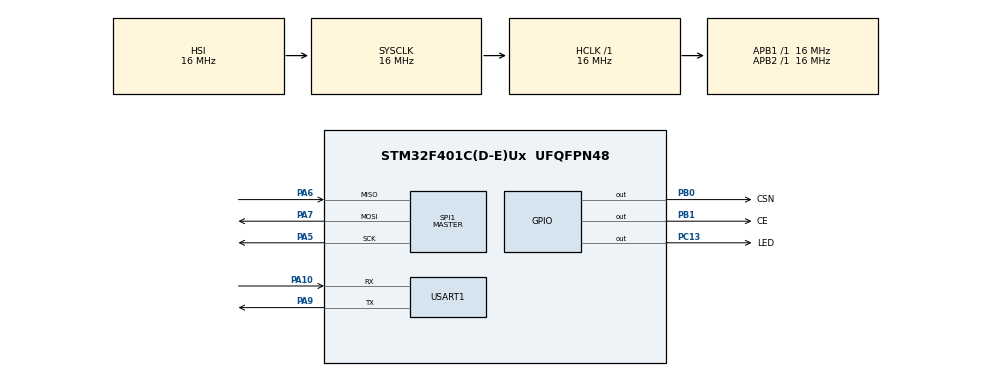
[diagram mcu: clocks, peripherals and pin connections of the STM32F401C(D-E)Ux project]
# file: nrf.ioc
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Mcu.Family=STM32F4
Mcu.Name=STM32F401C(D-E)Ux
Mcu.Package=UFQFPN48
NVIC.PriorityGroup=NVIC_PRIORITYGROUP_4
PA10.Mode=Asynchronous
PA10.Signal=USART1_RX
PA13.Mode=Serial_Wire
PA13.Signal=SYS_JTMS-SWDIO
PA14.Mode=Serial_Wire
PA14.Signal=SYS_JTCK-SWCLK
PA5.Mode=Full_Duplex_Master
PA5.Signal=SPI1_SCK
PA6.Mode=Full_Duplex_Master
PA6.Signal=SPI1_MISO
PA7.Mode=Full_Duplex_Master
PA7.Signal=SPI1_MOSI
PA9.Mode=Asynchronous
PA9.Signal=USART1_TX
PB0.GPIO_Label=CSN
PB0.Signal=GPIO_Output
PB1.GPIO_Label=CE
PB1.Signal=GPIO_Output
PC13-ANTI_TAMP.GPIO_Label=LED
PC13-ANTI_TAMP.Signal=GPIO_Output
PC14-OSC32_IN.Mode=LSE-External-Oscillator
PC14-OSC32_IN.Signal=RCC_OSC32_IN
PC15-OSC32_OUT.Mode=LSE-External-Oscillator
PC15-OSC32_OUT.Signal=RCC_OSC32_OUT
PH0\ -\ OSC_IN.Mode=HSE-External-Oscillator
PH0\ -\ OSC_IN.Signal=RCC_OSC_IN
PH1\ -\ OSC_OUT.Mode=HSE-External-Oscillator
PH1\ -\ OSC_OUT.Signal=RCC_OSC_OUT
ProjectManager.HeapSize=0x200
ProjectManager.StackSize=0x400
ProjectManager.TargetToolchain=STM32CubeIDE
RCC.AHBFreq_Value=16000000
RCC.APB1Freq_Value=16000000
RCC.APB2Freq_Value=16000000
RCC.CortexFreq_Value=16000000
RCC.HSE_VALUE=25000000
RCC.HSI_VALUE=16000000
RCC.SYSCLKFreq_VALUE=16000000
RCC.VCOOutputFreq_Value=192000000
SPI1.BaudRatePrescaler=SPI_BAUDRATEPRESCALER_32
SPI1.Direction=SPI_DIRECTION_2LINES
SPI1.Mode=SPI_MODE_MASTER
SPI1.VirtualType=VM_MASTER
USART1.VirtualMode=VM_ASYNC
board=custom

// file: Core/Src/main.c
/* USER CODE BEGIN Header */
/**
  ******************************************************************************
  * @file           : main.c
  * @brief          : Main program body
  ******************************************************************************
  * @attention
  *
  * Copyright (c) 2025 STMicroelectronics.
  * All rights reserved.
  *
  * This software is licensed under terms that can be found in the LICENSE file
  * in the root directory of this software component.
  * If no LICENSE file comes with this software, it is provided AS-IS.
  *
  ******************************************************************************
  */
/* USER CODE END Header */
#include "main.h"

/* USER CODE BEGIN Includes */
#include "nRF24L01.h"
#include <stdio.h>
#include <stdlib.h>
#include <string.h>
/* USER CODE END Includes */

SPI_HandleTypeDef hspi1;

UART_HandleTypeDef huart1;

void SystemClock_Config(void);
static void MX_GPIO_Init(void);
static void MX_SPI1_Init(void);
static void MX_USART1_UART_Init(void);
/* USER CODE BEGIN PFP */
int _write(int file, char *ptr, int len);
/* USER CODE END PFP */

int main(void)
{

  /* MCU Configuration--------------------------------------------------------*/

  /* Reset of all peripherals, Initializes the Flash interface and the Systick. */
  HAL_Init();

  /* Configure the system clock */
  SystemClock_Config();

  /* Initialize all configured peripherals */
  MX_GPIO_Init();
  MX_SPI1_Init();
  MX_USART1_UART_Init();
  /* USER CODE BEGIN 2 */

  nrf_t nrf ={
	.ce_port = CE_GPIO_Port,
	.ce_pin = CE_Pin,
	.csn_port = CSN_GPIO_Port,
	.csn_pin = CSN_Pin,
	.spi = &hspi1
  };

  uint8_t tx_addr[] = {0x11, 0x22, 0x33, 0x44, 0x55};
  nrf_init_tx(&nrf, tx_addr);
  //uint8_t data_to_send[]="hello world\n";
  //uint8_t counter = 0;

  // --- NEW DIAGNOSTIC TEST ---
    printf("--- NRF24L01 DIAGNOSTIC ---\r\n");
    uint8_t reg_val = nrf_read_reg(&nrf, NRF_REG_RF_CH);
    printf("Reading RF_CH (0x05): Should be 0x01.  Value: 0x%02X\r\n", reg_val);

    if (reg_val == 0x01) {
        printf("DIAGNOSTIC: SUCCESS! SPI wiring is correct.\r\n");
        printf("The 'timeout' error is almost certainly a POWER problem.\r\n");
        printf("Please add a 10uF capacitor to the module.\r\n");
    } else {
        printf("DIAGNOSTIC: FAILED! SPI communication is not working.\r\n");
        printf("Check VCC, GND, MISO, MOSI, SCK, and CSN wiring.\r\n");
        printf("Default value is 0x02. 0x00 or 0xFF means bad wiring.\r\n");
    }
    printf("--------------------------------\r\n");
    // --- END OF DIAGNOSTIC TEST ---

    uint8_t data_to_send[32];
    int counter = 0;

    //////////////////// RX CODE
    /*uint8_t rx_address[5] = {0x11, 0x22, 0x33, 0x44, 0x55};
      nrf_init_rx(&nrf, rx_address);

      uint8_t received_data[32] = {0};
        // Use a 4-byte payload (must match TX)

        // Call the init function

      printf("RX Init Success. Listening on 0x%02X%02X%02X%02X%02X\r\n",
    		  rx_address[0], rx_address[1], rx_address[2], rx_address[3], rx_address[4]);
*/
  /* USER CODE END 2 */

  /* Infinite loop */
  while (1)
  {

    /* USER CODE BEGIN 3 */
	  // Prepare some data

	      // Transmit the data

	  printf("Sending packet %d...\n ", counter);
	  snprintf((char*)data_to_send,32,"hello: %d\n",counter);
	  int result = nrf_transmit(&nrf, data_to_send,32);

	  if (result == 0) {
		  printf("OK!\r\n");
	      } else {
	          // Error message is printed inside the driver
	      }
	  nrf_send_cmd(&nrf, NRF_CMD_FLUSH_TX);
	  memset(data_to_send, 0, 32);
	  counter++;
	  HAL_Delay(10); // Wait 1 second

	  //////////////// rx code
/*
	  if (nrf_receive(&nrf, received_data))
	 	  {
	 	          // If we got one, print it!
	 		  HAL_UART_Transmit(&huart1, received_data, 32, 100);
	 	  }
	 	   HAL_Delay(10);
*/
  }
  /* USER CODE END 3 */
}

void SystemClock_Config(void)
{
  RCC_OscInitTypeDef RCC_OscInitStruct = {0};
  RCC_ClkInitTypeDef RCC_ClkInitStruct = {0};

  /** Configure the main internal regulator output voltage
  */
  __HAL_RCC_PWR_CLK_ENABLE();
  __HAL_PWR_VOLTAGESCALING_CONFIG(PWR_REGULATOR_VOLTAGE_SCALE2);

  /** Initializes the RCC Oscillators according to the specified parameters
  * in the RCC_OscInitTypeDef structure.
  */
  RCC_OscInitStruct.OscillatorType = RCC_OSCILLATORTYPE_HSI;
  RCC_OscInitStruct.HSIState = RCC_HSI_ON;
  RCC_OscInitStruct.HSICalibrationValue = RCC_HSICALIBRATION_DEFAULT;
  RCC_OscInitStruct.PLL.PLLState = RCC_PLL_NONE;
  if (HAL_RCC_OscConfig(&RCC_OscInitStruct) != HAL_OK)
  {
    Error_Handler();
  }

  /** Initializes the CPU, AHB and APB buses clocks
  */
  RCC_ClkInitStruct.ClockType = RCC_CLOCKTYPE_HCLK|RCC_CLOCKTYPE_SYSCLK
                              |RCC_CLOCKTYPE_PCLK1|RCC_CLOCKTYPE_PCLK2;
  RCC_ClkInitStruct.SYSCLKSource = RCC_SYSCLKSOURCE_HSI;
  RCC_ClkInitStruct.AHBCLKDivider = RCC_SYSCLK_DIV1;
  RCC_ClkInitStruct.APB1CLKDivider = RCC_HCLK_DIV1;
  RCC_ClkInitStruct.APB2CLKDivider = RCC_HCLK_DIV1;

  if (HAL_RCC_ClockConfig(&RCC_ClkInitStruct, FLASH_LATENCY_0) != HAL_OK)
  {
    Error_Handler();
  }
}

static void MX_SPI1_Init(void)
{

  /* SPI1 parameter configuration*/
  hspi1.Instance = SPI1;
  hspi1.Init.Mode = SPI_MODE_MASTER;
  hspi1.Init.Direction = SPI_DIRECTION_2LINES;
  hspi1.Init.DataSize = SPI_DATASIZE_8BIT;
  hspi1.Init.CLKPolarity = SPI_POLARITY_LOW;
  hspi1.Init.CLKPhase = SPI_PHASE_1EDGE;
  hspi1.Init.NSS = SPI_NSS_SOFT;
  hspi1.Init.BaudRatePrescaler = SPI_BAUDRATEPRESCALER_32;
  hspi1.Init.FirstBit = SPI_FIRSTBIT_MSB;
  hspi1.Init.TIMode = SPI_TIMODE_DISABLE;
  hspi1.Init.CRCCalculation = SPI_CRCCALCULATION_DISABLE;
  hspi1.Init.CRCPolynomial = 10;
  if (HAL_SPI_Init(&hspi1) != HAL_OK)
  {
    Error_Handler();
  }

}

static void MX_USART1_UART_Init(void)
{

  huart1.Instance = USART1;
  huart1.Init.BaudRate = 115200;
  huart1.Init.WordLength = UART_WORDLENGTH_8B;
  huart1.Init.StopBits = UART_STOPBITS_1;
  huart1.Init.Parity = UART_PARITY_NONE;
  huart1.Init.Mode = UART_MODE_TX_RX;
  huart1.Init.HwFlowCtl = UART_HWCONTROL_NONE;
  huart1.Init.OverSampling = UART_OVERSAMPLING_16;
  if (HAL_UART_Init(&huart1) != HAL_OK)
  {
    Error_Handler();
  }

}

static void MX_GPIO_Init(void)
{
  GPIO_InitTypeDef GPIO_InitStruct = {0};

  /* GPIO Ports Clock Enable */
  __HAL_RCC_GPIOC_CLK_ENABLE();
  __HAL_RCC_GPIOH_CLK_ENABLE();
  __HAL_RCC_GPIOA_CLK_ENABLE();
  __HAL_RCC_GPIOB_CLK_ENABLE();

  /*Configure GPIO pin Output Level */
  HAL_GPIO_WritePin(LED_GPIO_Port, LED_Pin, GPIO_PIN_RESET);

  /*Configure GPIO pin Output Level */
  HAL_GPIO_WritePin(GPIOB, CSN_Pin|CE_Pin, GPIO_PIN_RESET);

  /*Configure GPIO pin : LED_Pin */
  GPIO_InitStruct.Pin = LED_Pin;
  GPIO_InitStruct.Mode = GPIO_MODE_OUTPUT_PP;
  GPIO_InitStruct.Pull = GPIO_NOPULL;
  GPIO_InitStruct.Speed = GPIO_SPEED_FREQ_LOW;
  HAL_GPIO_Init(LED_GPIO_Port, &GPIO_InitStruct);

  /*Configure GPIO pins : CSN_Pin CE_Pin */
  GPIO_InitStruct.Pin = CSN_Pin|CE_Pin;
  GPIO_InitStruct.Mode = GPIO_MODE_OUTPUT_PP;
  GPIO_InitStruct.Pull = GPIO_NOPULL;
  GPIO_InitStruct.Speed = GPIO_SPEED_FREQ_LOW;
  HAL_GPIO_Init(GPIOB, &GPIO_InitStruct);

}

/* USER CODE BEGIN 4 */
int _write(int file, char *ptr, int len)
{
    // Use a 100ms timeout instead of HAL_MAX_DELAY
    HAL_UART_Transmit(&huart1, (uint8_t *)ptr, len, 100);
    return len;
}
/* USER CODE END 4 */

void Error_Handler(void)
{
  __disable_irq();
  while (1)
  {
  }
}
